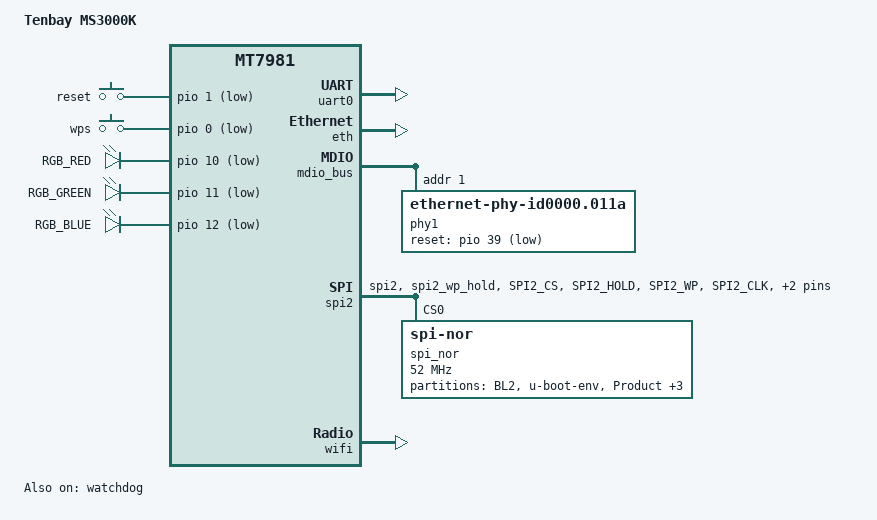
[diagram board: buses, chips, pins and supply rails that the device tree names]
/dts-v1/;

#include "mt7981b.dtsi"

/ {
	model = "Tenbay MS3000K";
	compatible = "tenbay,ms3000k", "mediatek,mt7981";

	aliases {
		led-boot = &led_run;
		led-failsafe = &led_run;
		led-running = &led_status;
		led-upgrade = &led_run;
		serial0 = &uart0;
		label-mac-device = &gmac1;
	};

	chosen {
		stdout-path = "serial0:115200n8";
	};

	gpio-keys {
		compatible = "gpio-keys";

		reset {
			label = "reset";
			linux,code = <KEY_RESTART>;
			gpios = <&pio 1 GPIO_ACTIVE_LOW>;
		};

		wps {
			label = "wps";
			linux,code = <KEY_WPS_BUTTON>;
			gpios = <&pio 0 GPIO_ACTIVE_LOW>;
		};
	};

	leds {
		compatible = "gpio-leds";

		led_run: RGB_RED {
			label = "RGB_RED";
			gpios = <&pio 10 GPIO_ACTIVE_LOW>;
			default-state = "on";
		};

		led_status: RGB_GREEN {
			label = "RGB_GREEN";
			gpios = <&pio 11 GPIO_ACTIVE_LOW>;
			default-state = "off";
		};

		RGB_BLUE {
			label = "RGB_BLUE";
			gpios = <&pio 12 GPIO_ACTIVE_LOW>;
			default-state = "off";
		};
	};
};

&uart0 {
	status = "okay";
};

&watchdog {
	status = "okay";
};

&eth {
	pinctrl-names = "default";
	pinctrl-0 = <&mdio_pins>;

	status = "okay";

	gmac0: mac@0 {
		compatible = "mediatek,eth-mac";
		reg = <0>;
		phy-mode = "sgmii";
		phy-handle = <&phy1>;
		phy-connection-type = "sgmii";
		managed = "in-band-status";
		nvmem-cells = <&macaddr_4 (-1)>;
		nvmem-cell-names = "mac-address";
	};

	gmac1: mac@1 {
		compatible = "mediatek,eth-mac";
		reg = <1>;
		phy-mode = "gmii";
		phy-handle = <&int_gbe_phy>;
		nvmem-cells = <&macaddr_4 (-2)>;
		nvmem-cell-names = "mac-address";
	};
};

&mdio_bus {
	phy1: ethernet-phy@1 {
		compatible = "ethernet-phy-id0000.011a";
		reg = <1>;
		reset-gpios = <&pio 39 GPIO_ACTIVE_LOW>;
		reset-assert-us = <100000>;
		reset-deassert-us = <100000>;
	};
};

&spi2 {
	pinctrl-names = "default";
	pinctrl-0 = <&spi2_flash_pins>;
	status = "okay";

	spi_nor@0 {
		#address-cells = <1>;
		#size-cells = <1>;
		compatible = "jedec,spi-nor";
		reg = <0>;
		spi-max-frequency = <52000000>;
		spi-tx-bus-width = <4>;
		spi-rx-bus-width = <4>;

		partitions {
			compatible = "fixed-partitions";
			#address-cells = <1>;
			#size-cells = <1>;

			partition@00000 {
				label = "BL2";
				reg = <0x00000 0x0040000>;
			};
			partition@40000 {
				label = "u-boot-env";
				reg = <0x40000 0x0010000>;
			};
			partition@40001 {
				label = "Product";
				reg = <0xF80000 0x20000>;
			};
			factory: partition@50000 {
				label = "Factory";
				reg = <0x50000 0x00B0000>;

				nvmem-layout {
					compatible = "fixed-layout";
					#address-cells = <1>;
					#size-cells = <1>;

					macaddr_4: macaddr@4 {
						compatible = "mac-base";
						reg = <0x4 0x6>;
						#nvmem-cell-cells = <1>;
					};
				};
			};
			partition@100000 {
				label = "FIP";
				reg = <0x100000 0x0080000>;
			};
			partition@180000 {
				label = "firmware";
				reg = <0x180000 0xE00000>;
			};
		};
	};
};

&pio {
	spi2_flash_pins: spi2-pins {
		mux {
			function = "spi";
			groups = "spi2", "spi2_wp_hold";
		};

		conf-pu {
			pins = "SPI2_CS", "SPI2_HOLD", "SPI2_WP";
			drive-strength = <MTK_DRIVE_8mA>;
			bias-pull-up = <MTK_PUPD_SET_R1R0_11>;
		};

		conf-pd {
			pins = "SPI2_CLK", "SPI2_MOSI", "SPI2_MISO";
			drive-strength = <MTK_DRIVE_8mA>;
			bias-pull-down = <MTK_PUPD_SET_R1R0_11>;
		};
	};
};

&wifi {
	mediatek,mtd-eeprom = <&factory 0x0>;

	status = "okay";
};

&sgmiisys0 {
       /delete-property/ mediatek,pnswap;
};
